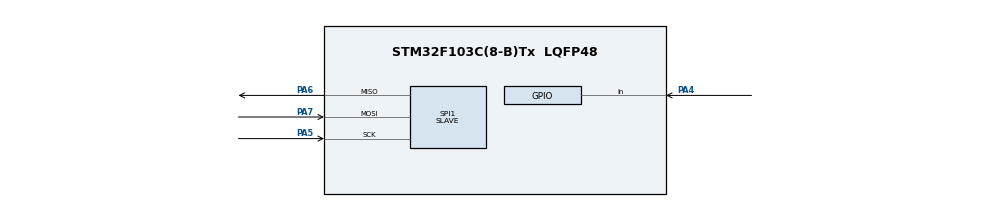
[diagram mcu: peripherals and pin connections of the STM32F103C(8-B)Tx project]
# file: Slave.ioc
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Mcu.Family=STM32F1
Mcu.Name=STM32F103C(8-B)Tx
Mcu.Package=LQFP48
NVIC.PriorityGroup=NVIC_PRIORITYGROUP_4
PA13.Mode=Serial_Wire
PA13.Signal=SYS_JTMS-SWDIO
PA14.Mode=Serial_Wire
PA14.Signal=SYS_JTCK-SWCLK
PA4.Signal=GPIO_Input
PA5.Mode=Full_Duplex_Slave
PA5.Signal=SPI1_SCK
PA6.Mode=Full_Duplex_Slave
PA6.Signal=SPI1_MISO
PA7.Mode=Full_Duplex_Slave
PA7.Signal=SPI1_MOSI
ProjectManager.HeapSize=0x200
ProjectManager.StackSize=0x400
ProjectManager.TargetToolchain=STM32CubeIDE
RCC.APB1Freq_Value=8000000
RCC.APB2Freq_Value=8000000
SPI1.Direction=SPI_DIRECTION_2LINES
SPI1.Mode=SPI_MODE_SLAVE
SPI1.VirtualType=VM_SLAVE
board=custom

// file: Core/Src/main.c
/* USER CODE BEGIN Header */
/**
  ******************************************************************************
  * @file           : main.c
  * @brief          : Slave - STM32F103C8 SPI Telemetry
  ******************************************************************************
  */
/* USER CODE END Header */

#include "main.h"
#include <string.h>

SPI_HandleTypeDef hspi1;

/* USER CODE BEGIN PV */

/*
 * Each case contains:
 *
 * case_id
 * voltage_raw
 * speed
 *
 * Voltage is stored x10:
 *
 * 12.3 V -> 123
 * 14.2 V -> 142
 * etc.
 */

typedef struct
{
    uint16_t case_id;
    uint16_t voltage_raw;
    uint16_t speed;

} TelemetryCase;

/*
 * Required Milestone 3 cases
 */

TelemetryCase case_table[5] =
{
    {0x1001, 123, 200},
    {0x1002, 142, 150},
    {0x1003, 138, 100},
    {0x1004, 115, 220},
    {0x1005, 109, 280}
};

/*
 * Received Case ID
 *
 * Only first 2 bytes are used.
 */

uint8_t rxID[2];

/*
 * Dummy receive buffer for Cycle 2
 */

uint8_t dummyRx[3];

/*
 * Response buffer:
 *
 * 3 bytes = 24 bits
 *
 * Byte 0 = Voltage bits 11..4
 * Byte 1 = Voltage bits 3..0 + Speed bits 11..8
 * Byte 2 = Speed bits 7..0
 */

uint8_t txTelemetry[3];

/* USER CODE END PV */

void SystemClock_Config(void);
static void MX_GPIO_Init(void);
static void MX_SPI1_Init(void);

/* USER CODE BEGIN 0 */

/*
 * Find the Case ID and prepare the 24-bit response.
 */

void PrepareTelemetry(uint16_t requestedID)
{
    /*
     * Default response = zero
     */

    txTelemetry[0] = 0x00;
    txTelemetry[1] = 0x00;
    txTelemetry[2] = 0x00;

    /*
     * Search the five predefined cases
     */

    for (int i = 0; i < 5; i++)
    {
        if (case_table[i].case_id == requestedID)
        {
            uint16_t voltageRaw =
                case_table[i].voltage_raw;

            uint16_t speed =
                case_table[i].speed;

            /*
             * Pack 12-bit Voltage + 12-bit Speed
             *
             * Voltage:
             *
             * VVVVVVVVVVVV
             *
             * Speed:
             *
             * SSSSSSSSSSSS
             *
             * Combined:
             *
             * VVVVVVVV VVVVSSSS SSSSSSSS
             */

            /* Voltage bits 11..4 */

            txTelemetry[0] =
                (uint8_t)((voltageRaw >> 4) & 0xFF);

            /* Voltage bits 3..0 */

            txTelemetry[1] =
                (uint8_t)((voltageRaw & 0x0F) << 4);

            /* Speed bits 11..8 */

            txTelemetry[1] |=
                (uint8_t)((speed >> 8) & 0x0F);

            /* Speed bits 7..0 */

            txTelemetry[2] =
                (uint8_t)(speed & 0xFF);

            /*
             * Case found, stop searching.
             */

            break;
        }
    }
}

/* USER CODE END 0 */

int main(void)
{
    /* Reset peripherals and initialize Flash/Systick */

    HAL_Init();

    /* Configure system clock */

    SystemClock_Config();

    /* Initialize peripherals */

    MX_GPIO_Init();
    MX_SPI1_Init();

    /*
     * IMPORTANT:
     *
     * Slave NSS must be HARDWARE INPUT.
     *
     * PB0 from Master connects to PA4 of Slave.
     */

    hspi1.Init.NSS =
        SPI_NSS_HARD_INPUT;

    if (HAL_SPI_Init(&hspi1) != HAL_OK)
    {
        Error_Handler();
    }

    /*
     * Start with empty telemetry.
     */

    txTelemetry[0] = 0x00;
    txTelemetry[1] = 0x00;
    txTelemetry[2] = 0x00;

    while (1)
    {

        /* =========================================================
         *
         * CYCLE 1
         *
         * Master sends:
         *
         *       Case ID = 2 bytes
         *
         * Slave receives the Case ID.
         *
         * ========================================================= */

        memset(
            rxID,
            0,
            sizeof(rxID)
        );

        if (HAL_SPI_Receive(
                &hspi1,
                rxID,
                2,
                HAL_MAX_DELAY
            ) == HAL_OK)
        {

            /*
             * Reconstruct 16-bit Case ID
             *
             * Example:
             *
             * rxID[0] = 0x10
             * rxID[1] = 0x02
             *
             * requestedID = 0x1002
             */

            uint16_t requestedID =
                ((uint16_t)rxID[0] << 8) |
                rxID[1];

            /*
             * Search table and prepare
             * the response BEFORE Cycle 2.
             */

            PrepareTelemetry(requestedID);

            /*
             * Small delay gives Proteus/CPU
             * time to finish preparing response.
             */

            HAL_Delay(1);

            /* =====================================================
             *
             * CYCLE 2
             *
             * Master generates 3 clock bytes.
             *
             * Slave sends txTelemetry.
             *
             * ===================================================== */

            memset(
                dummyRx,
                0,
                sizeof(dummyRx)
            );

            HAL_SPI_TransmitReceive(
                &hspi1,
                txTelemetry,
                dummyRx,
                3,
                HAL_MAX_DELAY
            );
        }
    }
}

void SystemClock_Config(void)
{
    RCC_OscInitTypeDef RCC_OscInitStruct = {0};
    RCC_ClkInitTypeDef RCC_ClkInitStruct = {0};

    RCC_OscInitStruct.OscillatorType =
        RCC_OSCILLATORTYPE_HSI;

    RCC_OscInitStruct.HSIState =
        RCC_HSI_ON;

    RCC_OscInitStruct.HSICalibrationValue =
        RCC_HSICALIBRATION_DEFAULT;

    RCC_OscInitStruct.PLL.PLLState =
        RCC_PLL_NONE;

    if (HAL_RCC_OscConfig(
            &RCC_OscInitStruct
        ) != HAL_OK)
    {
        Error_Handler();
    }

    RCC_ClkInitStruct.ClockType =
        RCC_CLOCKTYPE_HCLK |
        RCC_CLOCKTYPE_SYSCLK |
        RCC_CLOCKTYPE_PCLK1 |
        RCC_CLOCKTYPE_PCLK2;

    RCC_ClkInitStruct.SYSCLKSource =
        RCC_SYSCLKSOURCE_HSI;

    RCC_ClkInitStruct.AHBCLKDivider =
        RCC_SYSCLK_DIV1;

    RCC_ClkInitStruct.APB1CLKDivider =
        RCC_HCLK_DIV1;

    RCC_ClkInitStruct.APB2CLKDivider =
        RCC_HCLK_DIV1;

    if (HAL_RCC_ClockConfig(
            &RCC_ClkInitStruct,
            FLASH_LATENCY_0
        ) != HAL_OK)
    {
        Error_Handler();
    }
}

static void MX_SPI1_Init(void)
{
    hspi1.Instance = SPI1;

    hspi1.Init.Mode =
        SPI_MODE_SLAVE;

    hspi1.Init.Direction =
        SPI_DIRECTION_2LINES;

    hspi1.Init.DataSize =
        SPI_DATASIZE_8BIT;

    hspi1.Init.CLKPolarity =
        SPI_POLARITY_LOW;

    hspi1.Init.CLKPhase =
        SPI_PHASE_1EDGE;

    /*
     * This will be changed to
     * HARD_INPUT immediately after initialization.
     */

    hspi1.Init.NSS =
        SPI_NSS_SOFT;

    hspi1.Init.FirstBit =
        SPI_FIRSTBIT_MSB;

    hspi1.Init.TIMode =
        SPI_TIMODE_DISABLE;

    hspi1.Init.CRCCalculation =
        SPI_CRCCALCULATION_DISABLE;

    hspi1.Init.CRCPolynomial =
        10;

    if (HAL_SPI_Init(&hspi1) != HAL_OK)
    {
        Error_Handler();
    }
}

static void MX_GPIO_Init(void)
{
    GPIO_InitTypeDef GPIO_InitStruct = {0};

    __HAL_RCC_GPIOA_CLK_ENABLE();

    /*
     * PA4 = NSS / CS
     *
     * Master PB0 connects here.
     */

    GPIO_InitStruct.Pin =
        GPIO_PIN_4;

    GPIO_InitStruct.Mode =
        GPIO_MODE_INPUT;

    GPIO_InitStruct.Pull =
        GPIO_NOPULL;

    HAL_GPIO_Init(
        GPIOA,
        &GPIO_InitStruct
    );
}

/**
  * @brief Error Handler
  */
void Error_Handler(void)
{
    __disable_irq();

    while (1)
    {
    }
}
